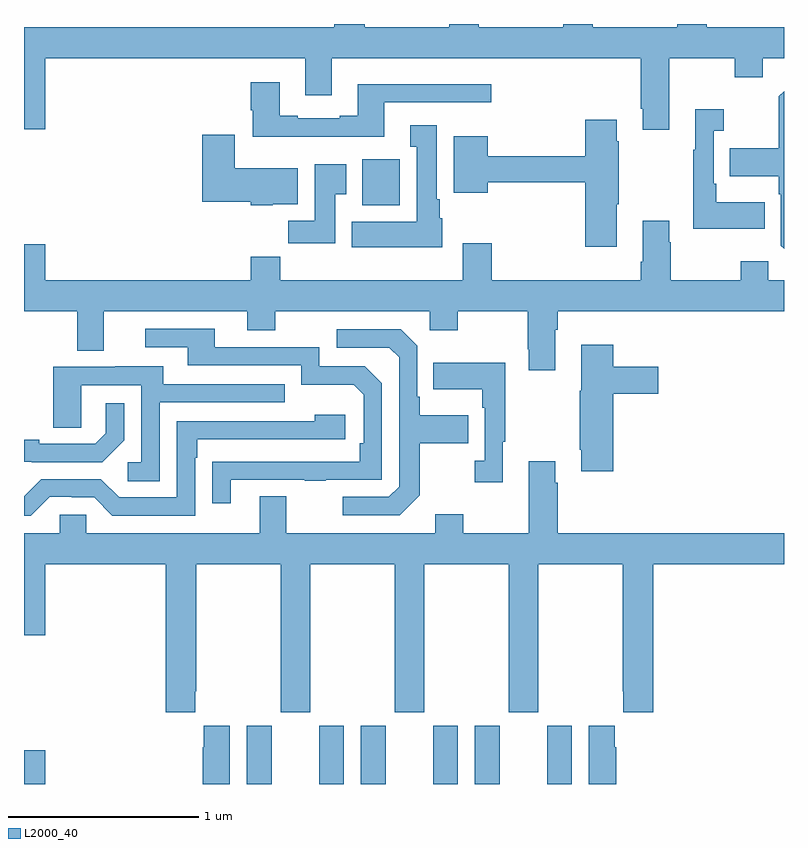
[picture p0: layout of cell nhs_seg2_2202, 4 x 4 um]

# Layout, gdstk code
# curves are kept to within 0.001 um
import gdstk
lib = gdstk.Library(unit=1e-6, precision=1e-09)
def R(c, l, rs):  # rectangles x0, y0, x1, y1
    for r in rs: c.add(gdstk.rectangle(r[:2], r[2:], *l))
def P(c, l, *ps):  # polygons
    for p in ps: c.add(gdstk.Polygon(p, *l))
L2000_40 = (2000, 40)

nhs_seg2_2202 = lib.new_cell('nhs_seg2_2202')
R(nhs_seg2_2202, L2000_40, [(225,659.8,225.112,659.977), (226.172,659.8,226.303,660.106), (226.553,659.8,226.684,660.106), (226.772,659.8,226.903,660.106), (227.153,659.8,227.284,660.106), (227.372,659.8,227.503,660.106), (227.753,659.8,227.884,660.106), (226.781,662.846,226.978,663.088)])
P(nhs_seg2_2202, L2000_40, [(228.397,663.62),(228.742,663.62),(228.742,663.521),(228.889,663.521),(228.889,663.62),(229,663.62),(229,663.784),(228.594,663.784),(228.594,663.8),(228.439,663.8),(228.439,663.784),(227.994,663.784),(227.994,663.8),(227.839,663.8),(227.839,663.784),(227.394,663.784),(227.394,663.8),(227.239,663.8),(227.239,663.784),(226.794,663.784),(226.794,663.8),(226.634,663.8),(226.634,663.784),(225,663.784),(225,663.246),(225.112,663.246),(225.112,663.62),(226.481,663.62),(226.481,663.426),(226.621,663.426),(226.621,663.62),(228.245,663.62),(228.245,663.355),(228.257,663.355),(228.257,663.243),(228.397,663.243)],
  [(226.897,663.387),(227.458,663.387),(227.458,663.484),(226.757,663.484),(226.757,663.316),(226.661,663.316),(226.661,663.303),(226.441,663.303),(226.441,663.316),(226.345,663.316),(226.345,663.493),(226.193,663.493),(226.193,663.345),(226.205,663.345),(226.205,663.206),(226.897,663.206)],
  [(229,663.447),(228.972,663.419),(228.972,663.147),(228.715,663.147),(228.715,662.999),(228.972,662.999),(228.972,662.903),(228.984,662.903),(228.984,662.634),(229,662.618)],
  [(228.899,662.863),(228.643,662.863),(228.643,662.959),(228.63,662.959),(228.63,663.239),(228.682,663.239),(228.682,663.352),(228.533,663.352),(228.533,663.139),(228.522,663.139),(228.522,662.723),(228.899,662.723)],
  [(228.121,662.851),(228.129,662.851),(228.129,663.182),(228.121,663.182),(228.121,663.295),(227.954,663.295),(227.954,663.104),(227.44,663.104),(227.44,663.208),(227.261,663.208),(227.261,662.912),(227.44,662.912),(227.44,662.968),(227.954,662.968),(227.954,662.628),(228.121,662.628)],
  [(227.2,662.778),(227.188,662.778),(227.188,662.878),(227.173,662.878),(227.173,663.268),(227.033,663.268),(227.033,663.155),(227.066,663.155),(227.066,662.758),(226.724,662.758),(226.724,662.624),(227.2,662.624)],
  [(226.308,662.852),(226.441,662.852),(226.441,663.04),(226.108,663.04),(226.108,663.217),(225.938,663.217),(225.938,662.864),(226.194,662.864),(226.194,662.846),(226.308,662.846)],
  [(226.639,662.905),(226.696,662.905),(226.696,663.061),(226.529,663.061),(226.529,662.764),(226.39,662.764),(226.39,662.646),(226.639,662.646)],
  [(227.797,662.192),(227.81,662.192),(227.81,662.288),(229,662.288),(229,662.452),(228.918,662.452),(228.918,662.551),(228.772,662.551),(228.772,662.452),(228.405,662.452),(228.405,662.651),(228.397,662.651),(228.397,662.764),(228.257,662.764),(228.257,662.548),(228.245,662.548),(228.245,662.452),(227.462,662.452),(227.462,662.647),(227.309,662.647),(227.309,662.452),(226.349,662.452),(226.349,662.576),(226.193,662.576),(226.193,662.452),(225.112,662.452),(225.112,662.641),(225,662.641),(225,662.288),(225.281,662.288),(225.281,662.08),(225.421,662.08),(225.421,662.288),(226.175,662.288),(226.175,662.189),(226.323,662.189),(226.323,662.288),(227.136,662.288),(227.136,662.189),(227.283,662.189),(227.283,662.288),(227.65,662.288),(227.65,662.089),(227.657,662.089),(227.657,661.977),(227.797,661.977)],
  [(226.087,661.401),(226.477,661.401),(226.477,661.396),(226.589,661.396),(226.589,661.401),(226.884,661.401),(226.884,661.908),(226.794,661.998),(226.554,661.998),(226.554,662.1),(226.003,662.1),(226.003,662.196),(225.639,662.196),(225.639,662.1),(225.863,662.1),(225.863,662.004),(226.458,662.004),(226.458,661.901),(226.735,661.901),(226.788,661.848),(226.788,661.594),(226.768,661.594),(226.768,661.497),(225.991,661.496),(225.991,661.278),(226.087,661.278)],
  [(227.083,661.321),(227.083,661.594),(227.339,661.594),(227.339,661.741),(227.083,661.741),(227.083,661.837),(227.07,661.837),(227.07,662.106),(226.983,662.193),(226.647,662.193),(226.647,662.097),(226.923,662.097),(226.974,662.046),(226.974,661.365),(226.92,661.311),(226.677,661.311),(226.677,661.215),(226.977,661.215)],
  [(228.101,661.853),(228.337,661.853),(228.337,661.995),(228.101,661.995),(228.101,662.113),(227.933,662.113),(227.933,661.869),(227.926,661.869),(227.926,661.558),(227.933,661.558),(227.933,661.446),(228.101,661.446)],
  [(227.521,661.601),(227.533,661.601),(227.533,662.017),(227.155,662.017),(227.155,661.877),(227.412,661.877),(227.412,661.781),(227.424,661.781),(227.424,661.502),(227.373,661.502),(227.373,661.389),(227.521,661.389)],
  [(225.714,661.809),(226.373,661.809),(226.373,661.905),(225.733,661.905),(225.733,661.999),(225.479,661.999),(225.479,661.995),(225.155,661.995),(225.155,661.675),(225.3,661.675),(225.3,661.899),(225.618,661.899),(225.618,661.494),(225.546,661.494),(225.546,661.393),(225.714,661.393)],
  [(225.528,661.61),(225.528,661.804),(225.431,661.804),(225.431,661.647),(225.374,661.59),(225.079,661.59),(225.079,661.613),(225,661.613),(225,661.497),(225.04,661.497),(225.04,661.494),(225.412,661.494)],
  [(225.135,661.311),(225.251,661.311),(225.251,661.308),(225.369,661.308),(225.465,661.212),(225.9,661.212),(225.9,661.517),(225.913,661.517),(225.913,661.614),(226.69,661.614),(226.69,661.744),(226.529,661.744),(226.529,661.71),(225.804,661.71),(225.804,661.308),(225.501,661.308),(225.405,661.404),(225.09,661.404),(225,661.314),(225,661.211),(225.035,661.211)],
  [(225.901,660.289),(225.906,660.289),(225.906,660.956),(226.351,660.956),(226.351,660.177),(226.506,660.177),(226.506,660.956),(226.951,660.956),(226.951,660.177),(227.106,660.177),(227.106,660.956),(227.551,660.956),(227.551,660.177),(227.706,660.177),(227.706,660.956),(228.151,660.956),(228.151,660.289),(228.155,660.289),(228.155,660.177),(228.311,660.177),(228.311,660.956),(229,660.956),(229,661.12),(227.81,661.12),(227.81,661.385),(227.797,661.385),(227.797,661.498),(227.657,661.498),(227.657,661.12),(227.313,661.12),(227.313,661.219),(227.165,661.219),(227.165,661.12),(226.381,661.12),(226.381,661.315),(226.241,661.315),(226.241,661.12),(225.327,661.12),(225.327,661.218),(225.189,661.218),(225.189,661.12),(225,661.12),(225,660.582),(225.112,660.582),(225.112,660.956),(225.746,660.956),(225.746,660.177),(225.901,660.177)],
  [(226.084,660.106),(225.947,660.106),(225.947,659.993),(225.941,659.993),(225.941,659.8),(226.084,659.8)],
  [(228.116,659.993),(228.109,659.993),(228.109,660.106),(227.972,660.106),(227.972,659.8),(228.116,659.8)])

lib.write_gds('nhs_seg2_2202.gds')
